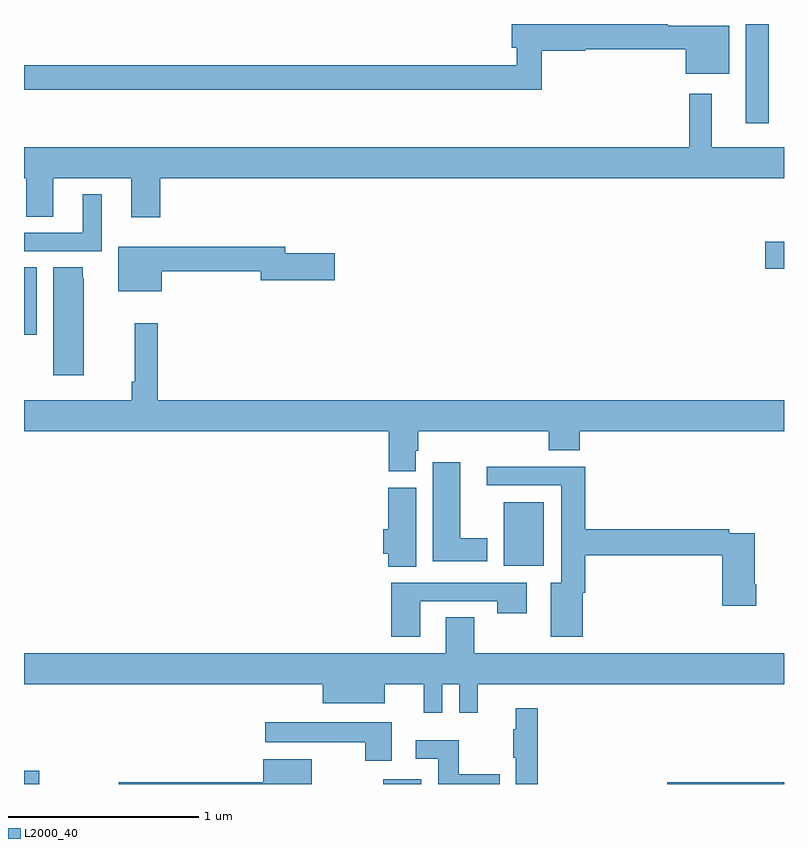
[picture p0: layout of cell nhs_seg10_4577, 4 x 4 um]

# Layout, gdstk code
import gdstk
lib = gdstk.Library(unit=1e-6, precision=1e-09)
def R(c, l, rs):  # rectangles x0, y0, x1, y1
    for r in rs: c.add(gdstk.rectangle(r[:2], r[2:], *l))
def P(c, l, *ps):  # polygons
    for p in ps: c.add(gdstk.Polygon(p, *l))
L2000_40 = (2000, 40)

nhs_seg10_4577 = lib.new_cell('nhs_seg10_4577')
R(nhs_seg10_4577, L2000_40, [(373,1258.5,373.081,1258.569), (374.891,1258.5,375.091,1258.525), (376.385,1258.5,377,1258.508), (375.524,1259.648,375.736,1259.983), (373,1260.864,373.066,1261.22), (376.902,1261.211,377,1261.353), (376.799,1261.977,376.921,1262.5)])
P(nhs_seg10_4577, L2000_40, [(375.725,1262.36),(375.954,1262.36),(375.954,1262.368),(376.484,1262.368),(376.484,1262.237),(376.711,1262.237),(376.711,1262.491),(376.388,1262.491),(376.388,1262.5),(375.566,1262.5),(375.566,1262.375),(375.593,1262.375),(375.593,1262.282),(373,1262.282),(373,1262.154),(375.725,1262.154)],
  [(373.718,1261.688),(377,1261.688),(377,1261.852),(376.621,1261.852),(376.621,1262.134),(376.5,1262.134),(376.5,1261.852),(373,1261.852),(373,1261.688),(373.013,1261.688),(373.013,1261.486),(373.153,1261.486),(373.153,1261.688),(373.565,1261.688),(373.565,1261.482),(373.718,1261.482)],
  [(373.408,1261.603),(373.31,1261.603),(373.31,1261.401),(373,1261.401),(373,1261.305),(373.408,1261.305)],
  [(373.726,1261.198),(374.246,1261.198),(374.246,1261.151),(374.635,1261.151),(374.635,1261.293),(374.374,1261.293),(374.374,1261.327),(373.496,1261.327),(373.496,1261.094),(373.726,1261.094)],
  [(373.315,1261.161),(373.309,1261.161),(373.309,1261.22),(373.154,1261.22),(373.154,1260.651),(373.315,1260.651)],
  [(373.703,1260.925),(373.582,1260.925),(373.582,1260.616),(373.567,1260.616),(373.567,1260.52),(373,1260.52),(373,1260.356),(374.921,1260.356),(374.921,1260.145),(375.061,1260.145),(375.061,1260.255),(375.074,1260.255),(375.074,1260.356),(375.761,1260.356),(375.761,1260.257),(375.926,1260.257),(375.926,1260.356),(377,1260.356),(377,1260.52),(373.703,1260.52)],
  [(375.439,1259.794),(375.295,1259.794),(375.295,1260.193),(375.152,1260.193),(375.152,1259.672),(375.439,1259.672)],
  [(375.94,1259.507),(375.953,1259.507),(375.953,1259.704),(376.676,1259.704),(376.676,1259.439),(376.854,1259.439),(376.854,1259.551),(376.846,1259.551),(376.846,1259.82),(376.712,1259.82),(376.712,1259.84),(375.953,1259.84),(375.953,1260.17),(375.435,1260.17),(375.435,1260.072),(375.827,1260.072),(375.827,1259.56),(375.773,1259.56),(375.773,1259.274),(375.94,1259.274)],
  [(375.064,1260.06),(374.918,1260.06),(374.918,1259.841),(374.891,1259.841),(374.891,1259.711),(374.918,1259.711),(374.918,1259.644),(375.064,1259.644)],
  [(375.085,1259.463),(375.49,1259.463),(375.49,1259.4),(375.646,1259.4),(375.646,1259.559),(374.933,1259.559),(374.933,1259.274),(375.085,1259.274)],
  [(375.201,1259.024),(375.291,1259.024),(375.291,1258.875),(375.389,1258.875),(375.389,1259.024),(377,1259.024),(377,1259.188),(375.369,1259.188),(375.369,1259.378),(375.221,1259.378),(375.221,1259.188),(373,1259.188),(373,1259.024),(374.573,1259.024),(374.573,1258.925),(374.899,1258.925),(374.899,1259.024),(375.104,1259.024),(375.104,1258.875),(375.201,1258.875)],
  [(375.704,1258.9),(375.587,1258.9),(375.587,1258.787),(375.576,1258.787),(375.576,1258.639),(375.588,1258.639),(375.588,1258.5),(375.704,1258.5)],
  [(374.935,1258.825),(374.271,1258.825),(374.271,1258.721),(374.795,1258.721),(374.795,1258.623),(374.935,1258.623)],
  [(375.503,1258.551),(375.289,1258.551),(375.289,1258.729),(375.063,1258.729),(375.063,1258.632),(375.18,1258.632),(375.18,1258.5),(375.503,1258.5)],
  [(374.515,1258.63),(374.258,1258.63),(374.258,1258.508),(373.499,1258.508),(373.499,1258.5),(374.515,1258.5)])

lib.write_gds('nhs_seg10_4577.gds')
